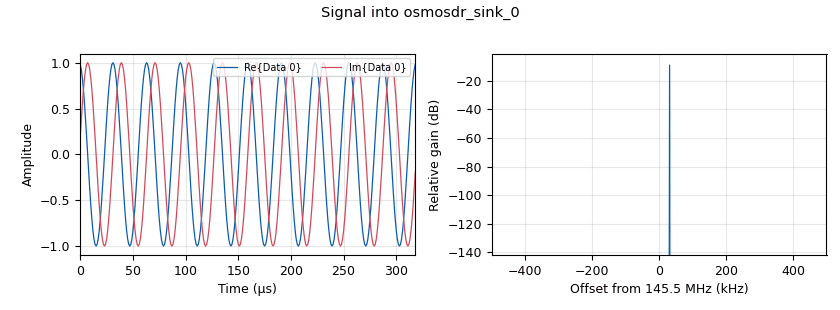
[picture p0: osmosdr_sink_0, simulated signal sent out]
<?xml version='1.0' encoding='utf-8'?>
<?grc format='1' created='3.7.11'?>
<flow_graph>
<block>
<key>options</key>
<param><key>id</key><value>top_block</value></param>
<param><key>generate_options</key><value>wx_gui</value></param>
</block>
<block>
<key>variable</key>
<param><key>id</key><value>samp_rate</value></param>
<param><key>value</key><value>32000</value></param>
</block>
<block>
<key>analog_sig_source_x</key>
<param><key>id</key><value>analog_sig_source_x_0</value></param>
<param><key>amp</key><value>1</value></param>
<param><key>freq</key><value>1000</value></param>
<param><key>offset</key><value>0</value></param>
<param><key>type</key><value>complex</value></param>
<param><key>samp_rate</key><value>samp_rate</value></param>
<param><key>waveform</key><value>analog.GR_COS_WAVE</value></param>
</block>
<block>
<key>osmosdr_sink</key>
<param><key>id</key><value>osmosdr_sink_0</value></param>
<param><key>bb_gain0</key><value>20</value></param>
<param><key>bw0</key><value>5.1e6</value></param>
<param><key>freq0</key><value>145.50e6</value></param>
<param><key>if_gain0</key><value>20</value></param>
<param><key>gain0</key><value>10</value></param>
<param><key>args</key><value>driver=lime,soapy=0</value></param>
<param><key>type</key><value>fc32</value></param>
<param><key>sample_rate</key><value>1000000</value></param>
<param><key>sync</key><value></value></param>
</block>
<block>
<key>wxgui_fftsink2</key>
<param><key>id</key><value>wxgui_fftsink2_0</value></param>
<param><key>avg_alpha</key><value>0</value></param>
<param><key>average</key><value>False</value></param>
<param><key>baseband_freq</key><value>0</value></param>
<param><key>_enabled</key><value>0</value></param>
<param><key>fft_size</key><value>1024</value></param>
<param><key>freqvar</key><value>None</value></param>
<param><key>peak_hold</key><value>False</value></param>
<param><key>ref_level</key><value>0</value></param>
<param><key>ref_scale</key><value>2.0</value></param>
<param><key>fft_rate</key><value>15</value></param>
<param><key>samp_rate</key><value>samp_rate</value></param>
<param><key>title</key><value>FFT Plot</value></param>
<param><key>type</key><value>complex</value></param>
<param><key>win</key><value>None</value></param>
<param><key>y_divs</key><value>10</value></param>
<param><key>y_per_div</key><value>10</value></param>
</block>
<connection><source_block_id>analog_sig_source_x_0</source_block_id><sink_block_id>osmosdr_sink_0</sink_block_id><source_key>0</source_key><sink_key>0</sink_key></connection>
<connection><source_block_id>analog_sig_source_x_0</source_block_id><sink_block_id>wxgui_fftsink2_0</sink_block_id><source_key>0</source_key><sink_key>0</sink_key></connection>
</flow_graph>
